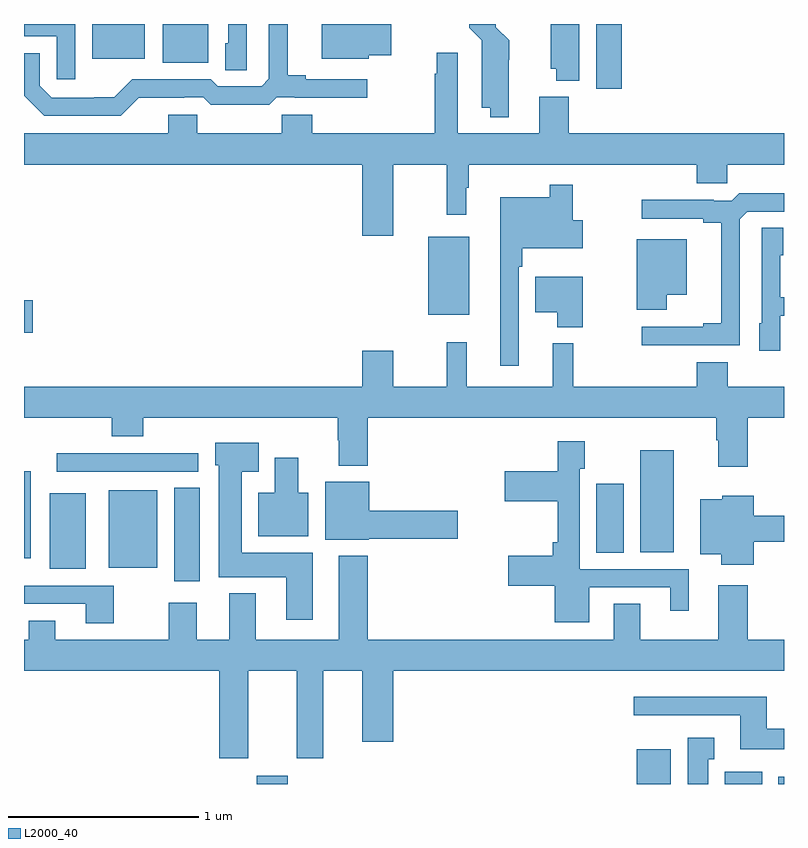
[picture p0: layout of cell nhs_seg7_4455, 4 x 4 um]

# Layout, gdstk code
import gdstk
lib = gdstk.Library(unit=1e-6, precision=1e-09)
def R(c, l, rs):  # rectangles x0, y0, x1, y1
    for r in rs: c.add(gdstk.rectangle(r[:2], r[2:], *l))
def P(c, l, *ps):  # polygons
    for p in ps: c.add(gdstk.Polygon(p, *l))
L2000_40 = (2000, 40)

nhs_seg7_4455 = lib.new_cell('nhs_seg7_4455')
R(nhs_seg7_4455, L2000_40, [(392.225,1020,392.389,1020.043), (394.226,1020,394.405,1020.184), (394.688,1020,394.885,1020.064), (394.97,1020,395,1020.037), (391.79,1021.068,391.924,1021.559), (391.136,1021.133,391.324,1021.531), (391.445,1021.139,391.702,1021.546), (391,1021.188,391.036,1021.645), (394.013,1021.216,394.156,1021.579), (394.244,1021.22,394.42,1021.756), (391.173,1021.644,391.918,1021.74), (391,1022.375,391.045,1022.546), (393.128,1022.471,393.343,1022.881), (394.013,1023.66,394.145,1024), (391.73,1023.797,391.969,1024), (391.358,1023.818,391.636,1024)])
P(nhs_seg7_4455, L2000_40, [(391.269,1024),(391,1024),(391,1023.936),(391.173,1023.936),(391.173,1023.708),(391.269,1023.708)],
  [(393.552,1023.812),(393.553,1023.812),(393.553,1023.914),(393.483,1023.984),(393.483,1024),(393.343,1024),(393.343,1023.981),(393.41,1023.914),(393.41,1023.56),(393.455,1023.56),(393.455,1023.509),(393.552,1023.509)],
  [(391.604,1023.611),(391.844,1023.611),(391.844,1023.615),(391.944,1023.615),(391.984,1023.576),(392.291,1023.576),(392.331,1023.615),(392.425,1023.615),(392.425,1023.611),(392.806,1023.611),(392.806,1023.708),(392.482,1023.708),(392.482,1023.731),(392.387,1023.731),(392.387,1024),(392.289,1024),(392.289,1023.711),(392.25,1023.672),(392.019,1023.672),(391.983,1023.708),(391.569,1023.708),(391.475,1023.614),(391.37,1023.614),(391.37,1023.612),(391.146,1023.612),(391.083,1023.675),(391.083,1023.846),(391,1023.846),(391,1023.623),(391.106,1023.516),(391.509,1023.516)],
  [(393.922,1024),(393.773,1024),(393.773,1023.765),(393.8,1023.765),(393.8,1023.701),(393.922,1023.701)],
  [(392.814,1023.836),(392.932,1023.836),(392.932,1024),(392.567,1024),(392.567,1023.818),(392.814,1023.818)],
  [(392.172,1024),(392.076,1024),(392.076,1023.9),(392.06,1023.9),(392.06,1023.757),(392.172,1023.757)],
  [(392.944,1023.26),(393.226,1023.26),(393.226,1022.997),(393.328,1022.997),(393.328,1023.137),(393.34,1023.137),(393.34,1023.26),(394.541,1023.26),(394.541,1023.162),(394.701,1023.162),(394.701,1023.26),(395,1023.26),(395,1023.424),(393.866,1023.424),(393.866,1023.616),(393.713,1023.616),(393.713,1023.424),(393.283,1023.424),(393.283,1023.85),(393.173,1023.85),(393.173,1023.737),(393.161,1023.737),(393.161,1023.424),(392.516,1023.424),(392.516,1023.522),(392.356,1023.522),(392.356,1023.424),(391.911,1023.424),(391.911,1023.522),(391.76,1023.522),(391.76,1023.424),(391,1023.424),(391,1023.26),(392.78,1023.26),(392.78,1022.886),(392.944,1022.886)],
  [(393.603,1022.723),(393.623,1022.723),(393.623,1022.819),(393.94,1022.819),(393.94,1022.967),(393.889,1022.967),(393.889,1023.154),(393.768,1023.154),(393.768,1023.088),(393.506,1023.088),(393.506,1022.202),(393.603,1022.202)],
  [(394.767,1022.973),(394.806,1023.012),(395,1023.012),(395,1023.109),(394.765,1023.109),(394.725,1023.069),(394.631,1023.069),(394.631,1023.074),(394.251,1023.074),(394.251,1022.976),(394.574,1022.976),(394.574,1022.954),(394.67,1022.954),(394.67,1022.426),(394.574,1022.426),(394.574,1022.406),(394.251,1022.406),(394.251,1022.31),(394.767,1022.31)],
  [(394.98,1022.465),(395,1022.465),(395,1022.562),(394.98,1022.562),(394.98,1022.784),(394.996,1022.784),(394.996,1022.927),(394.884,1022.927),(394.884,1022.424),(394.871,1022.424),(394.871,1022.28),(394.98,1022.28)],
  [(394.384,1022.576),(394.489,1022.576),(394.489,1022.866),(394.226,1022.866),(394.226,1022.496),(394.384,1022.496)],
  [(393.94,1022.671),(393.692,1022.671),(393.692,1022.483),(393.806,1022.483),(393.806,1022.405),(393.94,1022.405)],
  [(394.808,1021.928),(395,1021.928),(395,1022.092),(394.705,1022.092),(394.705,1022.221),(394.541,1022.221),(394.541,1022.092),(393.892,1022.092),(393.892,1022.32),(393.782,1022.32),(393.782,1022.092),(393.329,1022.092),(393.329,1022.326),(393.226,1022.326),(393.226,1022.092),(392.944,1022.092),(392.944,1022.281),(392.78,1022.281),(392.78,1022.092),(391,1022.092),(391,1021.928),(391.463,1021.928),(391.463,1021.829),(391.628,1021.829),(391.628,1021.928),(392.65,1021.928),(392.65,1021.808),(392.657,1021.808),(392.657,1021.676),(392.81,1021.676),(392.81,1021.928),(394.643,1021.928),(394.643,1021.808),(394.655,1021.808),(394.655,1021.671),(394.808,1021.671)],
  [(393.976,1021.035),(394.4,1021.035),(394.4,1020.912),(394.498,1020.912),(394.498,1021.131),(393.924,1021.131),(393.924,1021.659),(393.951,1021.659),(393.951,1021.804),(393.808,1021.804),(393.808,1021.645),(393.531,1021.645),(393.531,1021.487),(393.808,1021.487),(393.808,1021.273),(393.782,1021.273),(393.782,1021.201),(393.549,1021.201),(393.549,1021.043),(393.794,1021.043),(393.794,1020.851),(393.976,1020.851)],
  [(392.521,1021.216),(392.146,1021.216),(392.146,1021.643),(392.236,1021.643),(392.236,1021.795),(392.006,1021.795),(392.006,1021.677),(392.024,1021.677),(392.024,1021.088),(392.381,1021.088),(392.381,1020.864),(392.521,1020.864)],
  [(392.497,1021.534),(392.443,1021.534),(392.443,1021.717),(392.321,1021.717),(392.321,1021.534),(392.234,1021.534),(392.234,1021.304),(392.497,1021.304)],
  [(392.814,1021.292),(393.283,1021.292),(393.283,1021.439),(392.818,1021.439),(392.818,1021.591),(392.585,1021.591),(392.585,1021.286),(392.814,1021.286)],
  [(394.841,1021.276),(395,1021.276),(395,1021.412),(394.841,1021.412),(394.841,1021.516),(394.674,1021.516),(394.674,1021.498),(394.559,1021.498),(394.559,1021.208),(394.67,1021.208),(394.67,1021.154),(394.841,1021.154)],
  [(392.179,1020.596),(392.435,1020.596),(392.435,1020.135),(392.575,1020.135),(392.575,1020.596),(392.78,1020.596),(392.78,1020.222),(392.944,1020.222),(392.944,1020.596),(395,1020.596),(395,1020.76),(394.808,1020.76),(394.808,1021.045),(394.655,1021.045),(394.655,1020.76),(394.243,1020.76),(394.243,1020.95),(394.103,1020.95),(394.103,1020.76),(392.81,1020.76),(392.81,1021.201),(392.657,1021.201),(392.657,1020.76),(392.221,1020.76),(392.221,1021.003),(392.081,1021.003),(392.081,1020.76),(391.909,1020.76),(391.909,1020.955),(391.762,1020.955),(391.762,1020.76),(391.165,1020.76),(391.165,1020.859),(391.025,1020.859),(391.025,1020.76),(391,1020.76),(391,1020.596),(392.027,1020.596),(392.027,1020.135),(392.179,1020.135)],
  [(391.473,1021.044),(391,1021.044),(391,1020.948),(391.325,1020.948),(391.325,1020.846),(391.473,1020.846)],
  [(395,1020.292),(394.909,1020.292),(394.909,1020.46),(394.209,1020.46),(394.209,1020.363),(394.769,1020.363),(394.769,1020.182),(395,1020.182)],
  [(394.6,1020.131),(394.633,1020.131),(394.633,1020.244),(394.493,1020.244),(394.493,1020),(394.6,1020)])

lib.write_gds('nhs_seg7_4455.gds')
